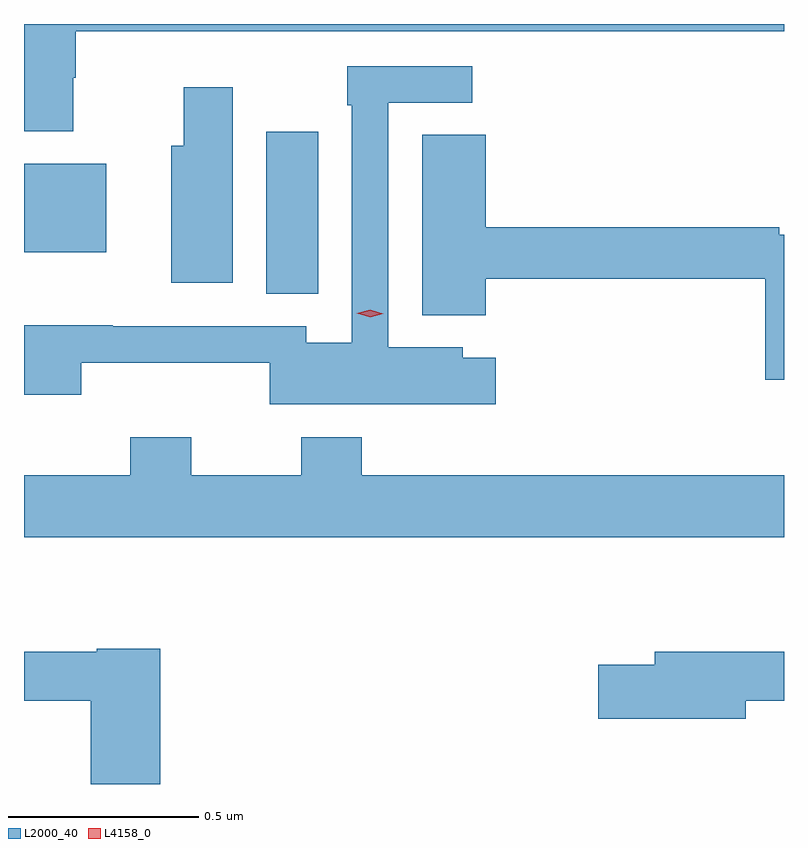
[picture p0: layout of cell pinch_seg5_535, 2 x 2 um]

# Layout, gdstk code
import gdstk
lib = gdstk.Library(unit=1e-6, precision=1e-09)
def R(c, l, rs):  # rectangles x0, y0, x1, y1
    for r in rs: c.add(gdstk.rectangle(r[:2], r[2:], *l))
def P(c, l, *ps):  # polygons
    for p in ps: c.add(gdstk.Polygon(p, *l))
L2000_40 = (2000, 40)
L4158_0 = (4158, 0)

pinch_seg5_535 = lib.new_cell('pinch_seg5_535')
R(pinch_seg5_535, L2000_40, [(885.74,841.417,885.877,841.843), (885.103,841.526,885.319,841.759)])
P(pinch_seg5_535, L2000_40, [(885.232,841.985),(885.239,841.985),(885.239,842.108),(887.103,842.108),(887.103,842.127),(885.103,842.127),(885.103,841.845),(885.232,841.845)],
  [(886.345,841.249),(886.257,841.249),(886.257,841.276),(886.062,841.276),(886.062,841.92),(886.282,841.92),(886.282,842.016),(885.954,842.016),(885.954,841.913),(885.966,841.913),(885.966,841.288),(885.846,841.288),(885.846,841.332),(885.337,841.332),(885.337,841.334),(885.103,841.334),(885.103,841.152),(885.254,841.152),(885.254,841.235),(885.75,841.235),(885.75,841.127),(886.345,841.127)],
  [(885.652,841.96),(885.523,841.96),(885.523,841.807),(885.491,841.807),(885.491,841.446),(885.652,841.446)],
  [(887.103,841.572),(887.09,841.572),(887.09,841.592),(886.318,841.592),(886.318,841.835),(886.151,841.835),(886.151,841.361),(886.318,841.361),(886.318,841.456),(887.054,841.456),(887.054,841.191),(887.103,841.191)],
  [(887.103,840.94),(885.992,840.94),(885.992,841.039),(885.832,841.039),(885.832,840.94),(885.543,840.94),(885.543,841.039),(885.383,841.039),(885.383,840.94),(885.103,840.94),(885.103,840.776),(887.103,840.776)],
  [(885.461,840.483),(885.294,840.483),(885.294,840.475),(885.103,840.475),(885.103,840.346),(885.278,840.346),(885.278,840.127),(885.461,840.127)],
  [(887.002,840.346),(887.103,840.346),(887.103,840.475),(886.763,840.475),(886.763,840.441),(886.614,840.441),(886.614,840.299),(887.002,840.299)])
P(pinch_seg5_535, L4158_0, [(886.014,841.355),(885.979,841.366),(885.979,841.366),(885.979,841.366),(886.014,841.375),(886.048,841.365),(886.049,841.365),(886.048,841.364)])

lib.write_gds('pinch_seg5_535.gds')
